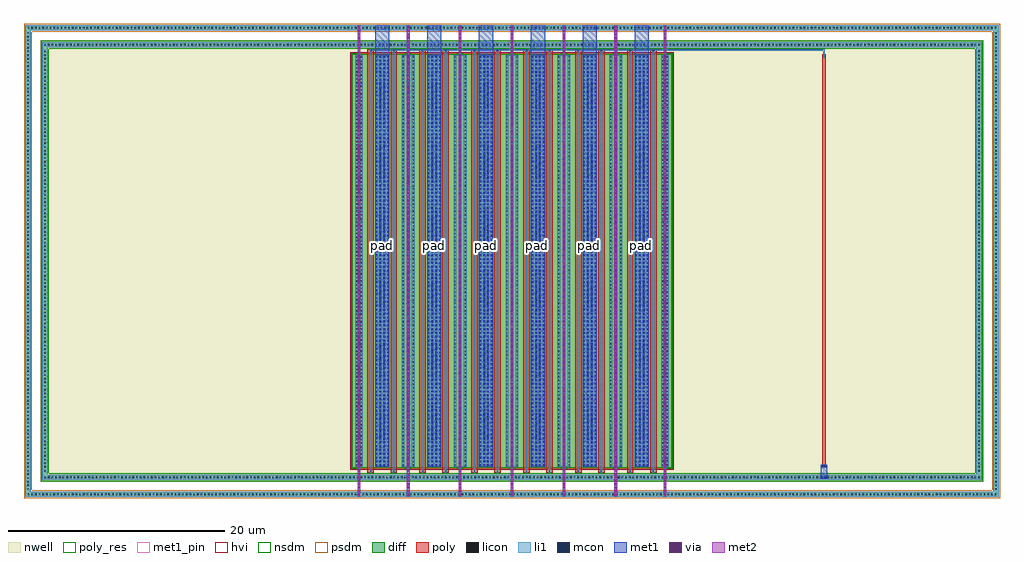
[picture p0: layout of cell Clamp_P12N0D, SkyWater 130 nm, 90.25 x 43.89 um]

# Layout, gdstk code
import gdstk
lib = gdstk.Library(unit=1e-6, precision=1e-09)
def R(c, l, rs):  # rectangles x0, y0, x1, y1
    for r in rs: c.add(gdstk.rectangle(r[:2], r[2:], *l))
def A(c, l, x, y, w, h, nx, ny, dx, dy):  # array of equal rectangles
    R(c, l, [(x+i*dx, y+j*dy, x+i*dx+w, y+j*dy+h) for i in range(nx) for j in range(ny)])
def P(c, l, *ps):  # polygons
    for p in ps: c.add(gdstk.Polygon(p, *l))
nwell = (64, 20)
diff = (65, 20)
poly_res = (66, 13)
poly = (66, 20)
licon = (66, 44)
li1 = (67, 20)
mcon = (67, 44)
met1_pin = (68, 16)
met1 = (68, 20)
via = (68, 44)
met2 = (69, 20)
hvi = (75, 20)
nsdm = (93, 44)
psdm = (94, 20)

guardring_p18000w8728hff = lib.new_cell('GuardRing_P18000W8728HFF')
P(guardring_p18000w8728hff, diff, [(-45,-21.82),(-45,21.34),(-44.52,21.34),(-44.52,-21.34),(44.52,-21.34),(44.52,21.34),(-45,21.34),(-45,21.82),(45,21.82),(45,-21.82)])
A(guardring_p18000w8728hff, licon, -44.795, -21.665, 0.17, 0.17, 264, 2, 0.34, 43.16)
A(guardring_p18000w8728hff, licon, -44.845, -21.165, 0.17, 0.17, 1, 125, 0, 0.34)
A(guardring_p18000w8728hff, licon, 44.675, -21.165, 0.17, 0.17, 1, 125, 0, 0.34)
P(guardring_p18000w8728hff, li1, [(-45,-21.82),(-45,21.34),(-44.52,21.34),(-44.52,-21.34),(44.52,-21.34),(44.52,21.34),(-45,21.34),(-45,21.82),(45,21.82),(45,-21.82)])
P(guardring_p18000w8728hff, psdm, [(-45.125,-21.945),(-45.125,21.215),(-44.395,21.215),(-44.395,-21.215),(44.395,-21.215),(44.395,21.215),(-45.125,21.215),(-45.125,21.945),(45.125,21.945),(45.125,-21.945)])

guardring_n17368w8096htf = lib.new_cell('GuardRing_N17368W8096HTF')
R(guardring_n17368w8096htf, nwell, [(-43.6,-20.42,43.6,20.42)])
P(guardring_n17368w8096htf, diff, [(-43.42,-20.24),(-43.42,19.76),(-42.94,19.76),(-42.94,-19.76),(42.94,-19.76),(42.94,19.76),(-43.42,19.76),(-43.42,20.24),(43.42,20.24),(43.42,-20.24)])
A(guardring_n17368w8096htf, licon, -43.265, -20.085, 0.17, 0.17, 255, 2, 0.34, 40)
A(guardring_n17368w8096htf, licon, -43.265, -19.465, 0.17, 0.17, 1, 115, 0, 0.34)
A(guardring_n17368w8096htf, licon, 43.095, -19.465, 0.17, 0.17, 1, 115, 0, 0.34)
P(guardring_n17368w8096htf, li1, [(-43.42,-20.24),(-43.42,19.76),(-42.94,19.76),(-42.94,-19.76),(42.94,-19.76),(42.94,19.76),(-43.42,19.76),(-43.42,20.24),(43.42,20.24),(43.42,-20.24)])
P(guardring_n17368w8096htf, nsdm, [(-43.545,-20.365),(-43.545,19.635),(-42.815,19.635),(-42.815,-19.635),(42.815,-19.635),(42.815,19.635),(-43.545,19.635),(-43.545,20.365),(43.545,20.365),(43.545,-20.365)])

clamp_p12n0d = lib.new_cell('Clamp_P12N0D')
R(clamp_p12n0d, nwell, [(30.07,2.54,59.93,41.1)])
R(clamp_p12n0d, diff, [(30.25,2.72,59.75,40.92)])
R(clamp_p12n0d, poly_res, [(73.675,2.985,74.015,40.655)])
R(clamp_p12n0d, poly, [(31.635,2.26,32.235,41.38), (33.765,2.26,34.365,41.38), (36.435,2.26,37.035,41.38), (38.565,2.26,39.165,41.38), (41.235,2.26,41.835,41.38), (43.365,2.26,43.965,41.38), (46.035,2.26,46.635,41.38), (48.165,2.26,48.765,41.38), (50.835,2.26,51.435,41.38), (52.965,2.26,53.565,41.38), (55.635,2.26,56.235,41.38), (57.765,2.26,58.365,41.38), (73.68,2.69,74.01,40.95)])
A(clamp_p12n0d, licon, 30.515, 2.865, 0.17, 0.17, 1, 112, 0, 0.34)
A(clamp_p12n0d, licon, 31.025, 2.865, 0.17, 0.17, 1, 112, 0, 0.34)
A(clamp_p12n0d, licon, 32.745, 2.865, 0.17, 0.17, 1, 112, 0, 0.34)
A(clamp_p12n0d, licon, 33.085, 2.865, 0.17, 0.17, 1, 112, 0, 0.34)
A(clamp_p12n0d, licon, 34.805, 2.865, 0.17, 0.17, 3, 112, 0.51, 0.34)
A(clamp_p12n0d, licon, 37.545, 2.865, 0.17, 0.17, 1, 112, 0, 0.34)
A(clamp_p12n0d, licon, 37.885, 2.865, 0.17, 0.17, 1, 112, 0, 0.34)
A(clamp_p12n0d, licon, 39.605, 2.865, 0.17, 0.17, 3, 112, 0.51, 0.34)
A(clamp_p12n0d, licon, 42.345, 2.865, 0.17, 0.17, 1, 112, 0, 0.34)
A(clamp_p12n0d, licon, 42.685, 2.865, 0.17, 0.17, 1, 112, 0, 0.34)
A(clamp_p12n0d, licon, 44.405, 2.865, 0.17, 0.17, 3, 112, 0.51, 0.34)
A(clamp_p12n0d, licon, 47.145, 2.865, 0.17, 0.17, 1, 112, 0, 0.34)
A(clamp_p12n0d, licon, 47.485, 2.865, 0.17, 0.17, 1, 112, 0, 0.34)
A(clamp_p12n0d, licon, 49.205, 2.865, 0.17, 0.17, 3, 112, 0.51, 0.34)
A(clamp_p12n0d, licon, 51.945, 2.865, 0.17, 0.17, 1, 112, 0, 0.34)
A(clamp_p12n0d, licon, 52.285, 2.865, 0.17, 0.17, 1, 112, 0, 0.34)
A(clamp_p12n0d, licon, 54.005, 2.865, 0.17, 0.17, 3, 112, 0.51, 0.34)
A(clamp_p12n0d, licon, 56.745, 2.865, 0.17, 0.17, 1, 112, 0, 0.34)
A(clamp_p12n0d, licon, 57.085, 2.865, 0.17, 0.17, 1, 112, 0, 0.34)
A(clamp_p12n0d, licon, 58.805, 2.865, 0.17, 0.17, 1, 112, 0, 0.34)
A(clamp_p12n0d, licon, 59.315, 2.865, 0.17, 0.17, 1, 112, 0, 0.34)
R(clamp_p12n0d, licon, [(31.85,2.31,32.02,2.48), (33.98,2.31,34.15,2.48), (36.65,2.31,36.82,2.48), (38.78,2.31,38.95,2.48), (41.45,2.31,41.62,2.48), (43.58,2.31,43.75,2.48), (46.25,2.31,46.42,2.48), (48.38,2.31,48.55,2.48), (51.05,2.31,51.22,2.48), (53.18,2.31,53.35,2.48), (55.85,2.31,56.02,2.48), (57.98,2.31,58.15,2.48), (73.76,2.77,73.93,2.94), (73.76,40.7,73.93,40.87), (31.85,41.16,32.02,41.33), (33.98,41.16,34.15,41.33), (36.65,41.16,36.82,41.33), (38.78,41.16,38.95,41.33), (41.45,41.16,41.62,41.33), (43.58,41.16,43.75,41.33), (46.25,41.16,46.42,41.33), (48.38,41.16,48.55,41.33), (51.05,41.16,51.22,41.33), (53.18,41.16,53.35,41.33), (55.85,41.16,56.02,41.33), (57.98,41.16,58.15,41.33)])
A(clamp_p12n0d, li1, 35.315, 1.58, 0.17, 0.48, 5, 2, 4.8, 40)
A(clamp_p12n0d, li1, 32.375, 2.785, 1.25, 38.07, 6, 1, 4.8, 0)
A(clamp_p12n0d, li1, 34.805, 2.785, 1.19, 38.07, 5, 1, 4.8, 0)
R(clamp_p12n0d, li1, [(30.77,1.58,30.94,2.06), (59.06,1.58,59.23,2.06), (73.58,1.735,74.11,1.905), (30.515,2.785,31.195,40.855), (58.805,2.785,59.485,40.855), (30.77,41.58,30.94,42.06), (59.06,41.58,59.23,42.06)])
P(clamp_p12n0d, li1, [(73.76,2.69),(73.76,2.77),(73.58,2.77),(73.58,2.94),(73.76,2.94),(73.76,3.02),(73.93,3.02),(73.93,2.94),(74.11,2.94),(74.11,2.77),(73.93,2.77),(73.93,2.69)],
  [(31.85,2.23),(31.85,41.41),(73.93,41.41),(73.93,40.62),(73.76,40.62),(73.76,41.24),(58.15,41.24),(58.15,2.23),(57.98,2.23),(57.98,41.24),(56.02,41.24),(56.02,2.23),(55.85,2.23),(55.85,41.24),(53.35,41.24),(53.35,2.23),(53.18,2.23),(53.18,41.24),(51.22,41.24),(51.22,2.23),(51.05,2.23),(51.05,41.24),(48.55,41.24),(48.55,2.23),(48.38,2.23),(48.38,41.24),(46.42,41.24),(46.42,2.23),(46.25,2.23),(46.25,41.24),(43.75,41.24),(43.75,2.23),(43.58,2.23),(43.58,41.24),(41.62,41.24),(41.62,2.23),(41.45,2.23),(41.45,41.24),(38.95,41.24),(38.95,2.23),(38.78,2.23),(38.78,41.24),(36.82,41.24),(36.82,2.23),(36.65,2.23),(36.65,41.24),(34.15,41.24),(34.15,2.23),(33.98,2.23),(33.98,41.24),(32.02,41.24),(32.02,2.23)])
A(clamp_p12n0d, mcon, 35.315, 1.735, 0.17, 0.17, 5, 2, 4.8, 40)
A(clamp_p12n0d, mcon, 30.77, 2.835, 0.17, 0.17, 1, 106, 0, 0.36)
A(clamp_p12n0d, mcon, 32.375, 2.835, 0.17, 0.17, 4, 106, 0.36, 0.36)
A(clamp_p12n0d, mcon, 35.315, 2.835, 0.17, 0.17, 1, 106, 0, 0.36)
A(clamp_p12n0d, mcon, 37.175, 2.835, 0.17, 0.17, 4, 106, 0.36, 0.36)
A(clamp_p12n0d, mcon, 40.115, 2.835, 0.17, 0.17, 1, 106, 0, 0.36)
A(clamp_p12n0d, mcon, 41.975, 2.835, 0.17, 0.17, 4, 106, 0.36, 0.36)
A(clamp_p12n0d, mcon, 44.915, 2.835, 0.17, 0.17, 1, 106, 0, 0.36)
A(clamp_p12n0d, mcon, 46.775, 2.835, 0.17, 0.17, 4, 106, 0.36, 0.36)
A(clamp_p12n0d, mcon, 49.715, 2.835, 0.17, 0.17, 1, 106, 0, 0.36)
A(clamp_p12n0d, mcon, 51.575, 2.835, 0.17, 0.17, 4, 106, 0.36, 0.36)
A(clamp_p12n0d, mcon, 54.515, 2.835, 0.17, 0.17, 1, 106, 0, 0.36)
A(clamp_p12n0d, mcon, 56.375, 2.835, 0.17, 0.17, 4, 106, 0.36, 0.36)
A(clamp_p12n0d, mcon, 59.06, 2.835, 0.17, 0.17, 1, 106, 0, 0.36)
R(clamp_p12n0d, mcon, [(30.77,1.735,30.94,1.905), (59.06,1.735,59.23,1.905), (73.58,1.735,73.75,1.905), (73.94,1.735,74.11,1.905), (73.58,2.77,73.75,2.94), (73.94,2.77,74.11,2.94), (30.77,41.735,30.94,41.905), (59.06,41.735,59.23,41.905)])
A(clamp_p12n0d, met1_pin, 32.345, 2.775, 1.31, 40.865, 6, 1, 4.8, 0)
A(clamp_p12n0d, met1, 35.27, 0, 0.26, 43.64, 5, 1, 4.8, 0)
A(clamp_p12n0d, met1, 32.345, 2.775, 1.31, 40.865, 6, 1, 4.8, 0)
R(clamp_p12n0d, met1, [(30.725,0,30.985,43.64), (59.015,0,59.275,43.64), (73.55,1.675,74.14,3)])
A(clamp_p12n0d, via, 30.78, 0.145, 0.15, 0.15, 1, 136, 0, 0.32)
A(clamp_p12n0d, via, 35.325, 0.145, 0.15, 0.15, 5, 136, 4.8, 0.32)
A(clamp_p12n0d, via, 59.07, 0.145, 0.15, 0.15, 1, 136, 0, 0.32)
A(clamp_p12n0d, met2, 35.27, 0.06, 0.26, 43.52, 5, 1, 4.8, 0)
R(clamp_p12n0d, met2, [(30.725,0.06,30.985,43.58), (59.015,0.06,59.275,43.58)])
R(clamp_p12n0d, hvi, [(30.05,2.52,59.95,41.12)])
A(clamp_p12n0d, nsdm, 35.05, 2.595, 0.7, 38.45, 5, 1, 4.8, 0)
R(clamp_p12n0d, nsdm, [(30.125,2.595,30.95,41.045), (59.05,2.595,59.875,41.045)])
A(clamp_p12n0d, psdm, 30.95, 2.595, 4.1, 38.45, 6, 1, 4.8, 0)
clamp_p12n0d.add(gdstk.Reference(guardring_p18000w8728hff, (45,21.82)))
clamp_p12n0d.add(gdstk.Reference(guardring_n17368w8096htf, (45,21.82)))
clamp_p12n0d.add(gdstk.Label('pad', (37.8,23.208), layer=68, texttype=16))
clamp_p12n0d.add(gdstk.Label('pad', (42.6,23.208), layer=68, texttype=16))
clamp_p12n0d.add(gdstk.Label('pad', (33,23.208), layer=68, texttype=16))
clamp_p12n0d.add(gdstk.Label('pad', (47.4,23.208), layer=68, texttype=16))
clamp_p12n0d.add(gdstk.Label('pad', (57,23.208), layer=68, texttype=16))
clamp_p12n0d.add(gdstk.Label('pad', (52.2,23.208), layer=68, texttype=16))

lib.write_gds('Clamp_P12N0D.gds')
